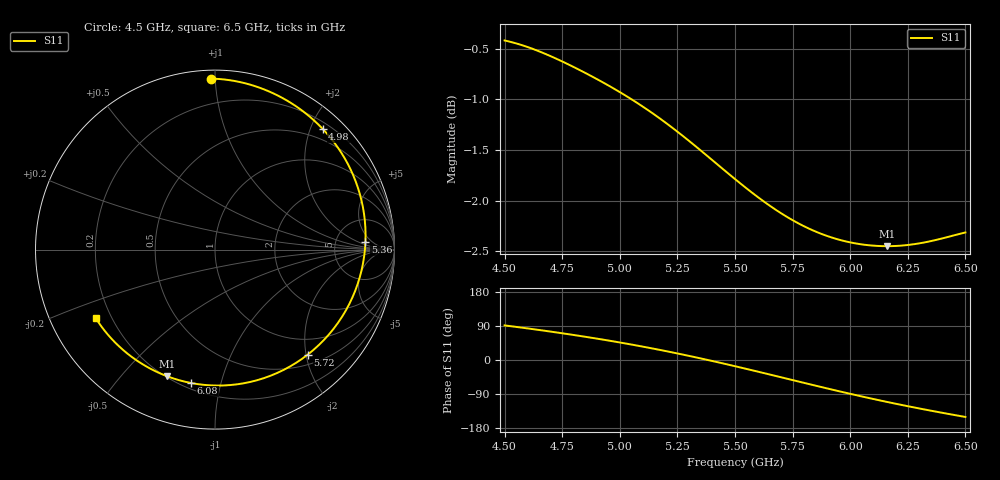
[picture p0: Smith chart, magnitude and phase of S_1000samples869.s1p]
! TOUCHSTONE file generated by CST MICROWAVE STUDIO
! Date and time: Sat Oct 29 15:51:36 2022
! Project name: L.cst
! Parameters = {Di=1.27; Epsilon_r=1.56; InnerDiameter=1.27; Length=2; Lf=10; Lg=60; OuterConductorThickness=0.2921; OuterDiameter=3.6; Wf=3; Wp=41.2; de=1.5; df=6.8; g=0.8; gx=4.81403; gy=2.46488; h=2.34; hf=1.524; px=11.9394; py=10.038; w=9.7; wx=7.12538; wy=7.57314}
! Header version: 2018
! Port assignment regex: !\s*Touchstone port\s*([0-9]+)\s*=\s*(CST MWS port|CST DS port)\s*([0-9]+|Zmin|Zmax)\s*\(\"(.*)\"\)(\s*mode\s*([0-9]+))?.*
! Touchstone port assignment:
! Touchstone port 1 = CST MWS port 1 ("")
# GHz S DB R 50
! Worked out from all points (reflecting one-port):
!   101 points, 4.5 GHz to 6.5 GHz, reference 50 ohm
!   lowest |S11| = -2.4 dB at 6.16 GHz (marker M1), VSWR 7.14, Z = 10.3 - j33.6 ohm
!   phase of S11 starts at 91 deg and turns -242 deg over the sweep
!   S11 on the Smith chart (normalised r, x): 4.5 GHz: 0.05, +0.98; 4.98 GHz: 0.31, +2.19; 5.36 GHz: 11, +3; 5.72 GHz: 0.68, -2.03; 6.08 GHz: 0.23, -0.81; 6.5 GHz: 0.14, -0.26
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4.5  -0.42 91.3
4.58  -0.47 85.0
4.64  -0.52 80.0
4.76  -0.64 69.6
4.88  -0.78 58.4
4.98  -0.90 48.3
5  -0.93 46.2
5.06  -1.01 39.7
5.14  -1.13 30.6
5.2  -1.23 23.5
5.26  -1.34 16.0
5.36  -1.52 3.0
5.44  -1.67 -7.9
5.5  -1.79 -16.4
5.54  -1.86 -22.1
5.6  -1.97 -30.8
5.66  -2.06 -39.7
5.72  -2.15 -48.5
5.76  -2.20 -54.5
5.82  -2.27 -63.3
5.88  -2.33 -72.1
5.94  -2.38 -80.8
6  -2.41 -89.2
6.08  -2.44 -100.2
6.16  -2.45 -110.7
6.26  -2.43 -123.1
6.38  -2.38 -137.1
6.5  -2.31 -150.3
